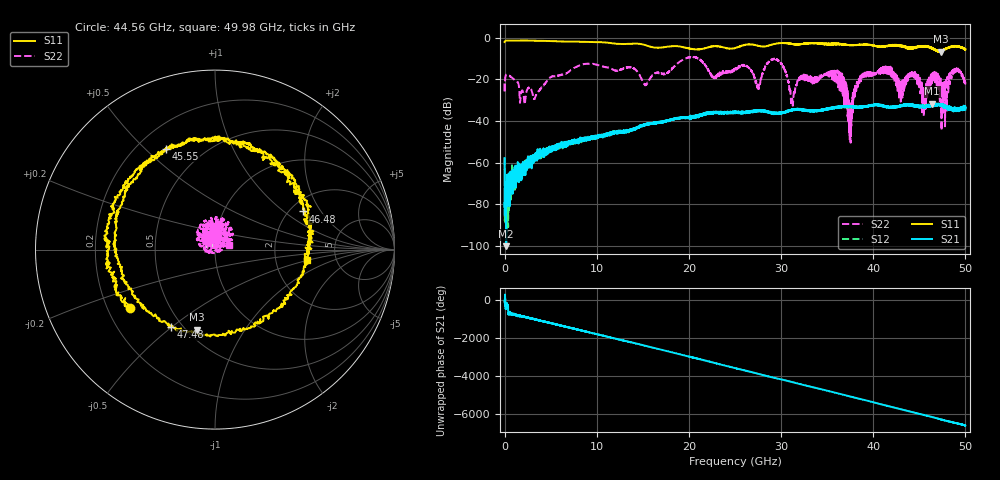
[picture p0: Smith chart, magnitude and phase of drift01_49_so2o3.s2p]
!Created with skrf (http://scikit-rf.org).
# Hz S RI R 50.0
!freq ReS11 ImS11 ReS21 ImS21 ReS12 ImS12 ReS22 ImS22
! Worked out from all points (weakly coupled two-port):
!   10001 points, 300 kHz to 50 GHz, reference 50 ohm
!   highest |S21| = -31.62 dB at 46.39 GHz (marker M1); lowest = -100.0 dB at 180.3 MHz (marker M2)
!   lowest |S11| = -6.8 dB at 47.37 GHz (marker M3), VSWR 2.69, Z = 28 - j31.6 ohm
!   |S11| at or under -10 dB: nowhere
!   |S22| runs from -50.4 to -9.2 dB; largest |S21 - S12| = 0.0037
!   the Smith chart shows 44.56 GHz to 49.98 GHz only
!   S11 on the Smith chart (normalised r, x): 44.56 GHz: 0.29, -0.29; 45.55 GHz: 0.31, +0.58; 46.48 GHz: 2.35, +1.41; 47.48 GHz: 0.44, -0.50; 49.98 GHz: 3.04, -0.48
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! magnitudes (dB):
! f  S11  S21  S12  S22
! 300 kHz  -2.1  -57.8  -57.6  -21.9
! 180.3 MHz  -1.4  -100.0  -78.3  -17.7
! 3.29 GHz  -1.5  -57.4  -56.4  -28.9
! 8.335 GHz  -2.0  -49.1  -49.3  -12.9
! 16.67 GHz  -4.9  -40.6  -41.0  -16.6
! 25 GHz  -5.0  -36.2  -36.1  -15.6
! 27.5 GHz  -3.8  -35.1  -35.1  -22.8
! 29.6 GHz  -2.8  -36.5  -36.5  -10.6
! 31.25 GHz  -3.2  -34.5  -34.6  -31.6
! 33.34 GHz  -2.6  -35.3  -35.2  -19.9
! 36.21 GHz  -3.2  -33.4  -33.1  -22.6
! 37.52 GHz  -3.6  -33.1  -33.3  -37.0
! 38.65 GHz  -3.4  -33.3  -33.2  -20.5
! 41.67 GHz  -3.9  -33.4  -33.4  -15.3
! 44.56 GHz  -4.8  -32.5  -32.7  -17.3
! 45.55 GHz  -4.1  -33.1  -33.0  -28.4
! 46.39 GHz  -4.8  -31.6  -32.3  -18.8
! 46.48 GHz  -5.4  -32.4  -32.6  -17.3
! 47.37 GHz  -6.8  -32.4  -32.5  -23.4
! 47.48 GHz  -6.1  -32.2  -32.8  -22.4
! 49.98 GHz  -5.8  -32.8  -33.4  -21.8
! 50 GHz  -5.6  -34.6  -34.0  -22.0
